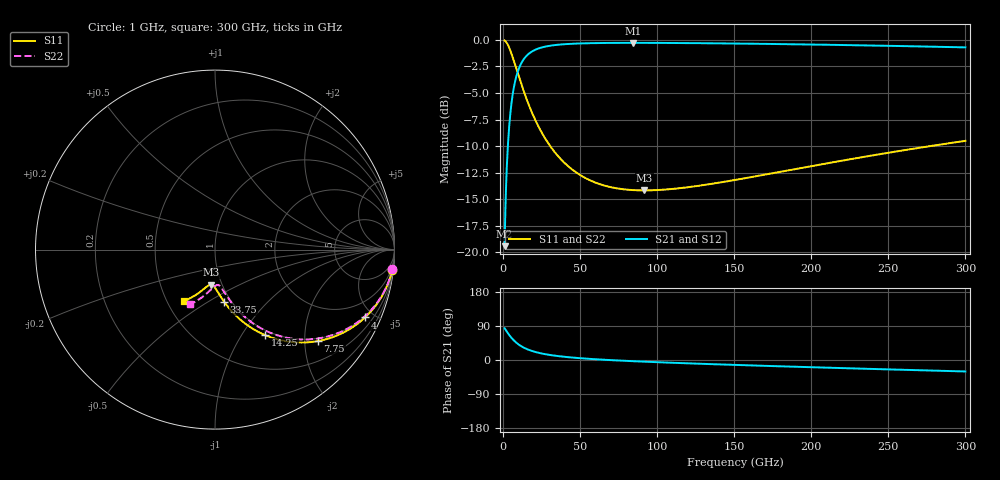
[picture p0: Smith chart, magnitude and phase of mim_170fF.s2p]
! Created Thu Feb 13 17:52:52 2025
# hz S ma R 50
! 2 Port Network Data from SP1.SP block
! freq  magS11  angS11  magS21  angS21  magS12  angS12  magS22  angS22
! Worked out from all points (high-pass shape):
!   1197 points, 1 GHz to 300 GHz, reference 50 ohm
!   highest |S21| = -0.28 dB at 84.5 GHz (marker M1); lowest = -19.4 dB at 1 GHz (marker M2)
!   |S21| within 3 dB of the highest: 8.914 GHz to end of sweep
!   lowest |S11| = -14.2 dB at 91.75 GHz (marker M3), VSWR 1.49, Z = 44.5 - j18 ohm
!   |S11| at or under -10 dB: 30.61 GHz to 276.9 GHz (246.3 GHz wide, 160 % of centre)
!   |S22| runs from -14.1 to -0.1 dB; largest |S21 - S12| = 0
!   S11 on the Smith chart (normalised r, x): 1 GHz: 1, -18; 4 GHz: 0.93, -4.45; 7.75 GHz: 0.93, -2.31; 14.25 GHz: 0.93, -1.27; 33.75 GHz: 0.93, -0.59; 300 GHz: 0.61, -0.39
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1e9  0.9942 -6.4  0.107 83.6  0.107 83.6  0.9942 -6.2
1.75e9  0.9824 -11.1  0.1849 78.9  0.1849 78.9  0.9825 -10.8
3e9  0.9509 -18.7  0.3066 71.5  0.3066 71.5  0.951 -18.1
4e9  0.9175 -24.3  0.3941 65.9  0.3941 65.9  0.9176 -23.5
5.75e9  0.8492 -33.2  0.5234 57.1  0.5234 57.1  0.8493 -31.9
7.75e9  0.7673 -41.6  0.6354 48.8  0.6354 48.8  0.7675 -40.0
1.1e10  0.6471 -52.1  0.7554 38.4  0.7554 38.4  0.6474 -49.8
1.425e10  0.5515 -59.7  0.8263 31.0  0.8263 31.0  0.552 -56.7
1.775e10  0.4734 -65.7  0.8725 25.2  0.8725 25.2  0.474 -62.0
2.2e10  0.4041 -71.0  0.9059 20.0  0.9059 20.0  0.4048 -66.5
2.725e10  0.3443 -75.8  0.9296 15.4  0.9296 15.4  0.3453 -70.3
3.375e10  0.295 -80.0  0.9459 11.3  0.9459 11.3  0.2961 -73.6
4.2e10  0.2553 -84.0  0.9568 7.6  0.9568 7.6  0.2567 -76.5
5.1e10  0.2289 -87.2  0.963 4.5  0.963 4.5  0.2305 -78.8
6.625e10  0.2058 -91.2  0.9675 0.5  0.9675 0.5  0.2076 -81.8
8.45e10  0.1964 -94.8  0.9687 -3.2  0.9687 -3.2  0.1983 -84.9
9.175e10  0.1957 -96.1  0.9686 -4.4  0.9686 -4.4  0.1977 -86.1
1.0075e11  0.1966 -97.5  0.9681 -5.9  0.9681 -5.9  0.1985 -87.5
1.505e11  0.2192 -104.2  0.9617 -13.0  0.9617 -13.0  0.2208 -95.0
2.005e11  0.2549 -110.2  0.9512 -19.1  0.9512 -19.1  0.256 -102.0
2.5025e11  0.2946 -115.8  0.938 -24.8  0.938 -24.8  0.295 -108.4
3e11  0.3349 -121.3  0.9224 -30.3  0.9224 -30.3  0.3347 -114.5
